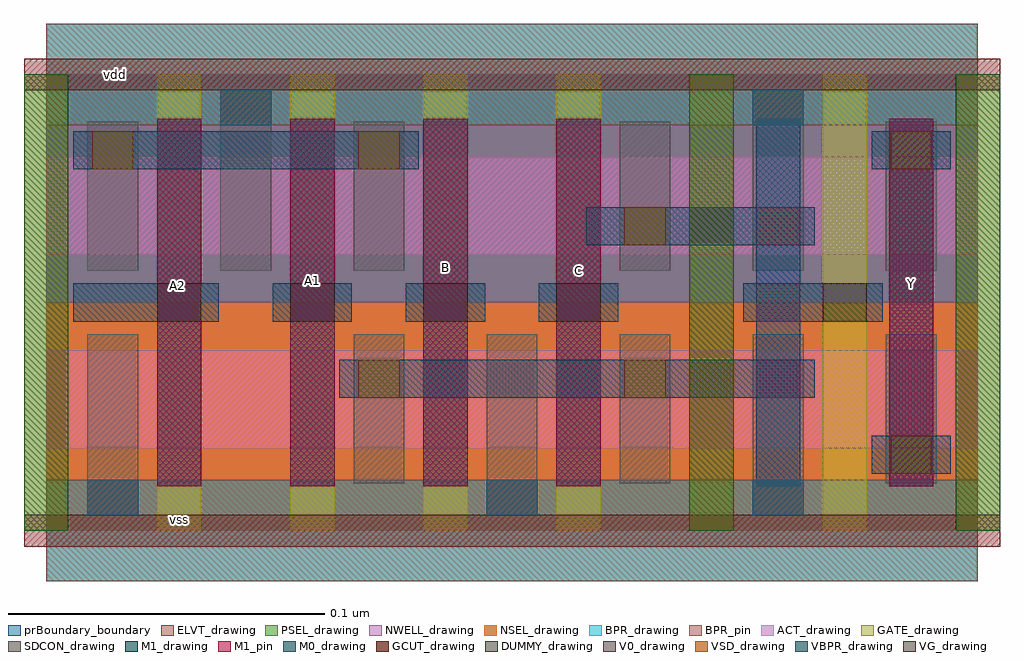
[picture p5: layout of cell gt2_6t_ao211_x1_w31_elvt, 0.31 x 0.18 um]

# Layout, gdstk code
import gdstk
lib = gdstk.Library(unit=1e-6, precision=5e-10)
def R(c, l, rs):  # rectangles x0, y0, x1, y1
    for r in rs: c.add(gdstk.rectangle(r[:2], r[2:], *l))
def A(c, l, x, y, w, h, nx, ny, dx, dy):  # array of equal rectangles
    R(c, l, [(x+i*dx, y+j*dy, x+i*dx+w, y+j*dy+h) for i in range(nx) for j in range(ny)])
NWELL_drawing = (1, 0)
ACT_drawing = (2, 0)
GATE_drawing = (3, 0)
DUMMY_drawing = (4, 0)
GCUT_drawing = (5, 0)
NSEL_drawing = (6, 0)
PSEL_drawing = (7, 0)
BPR_drawing = (8, 0)
BPR_pin = (8, 251)
VBPR_drawing = (9, 0)
SDCON_drawing = (10, 0)
VSD_drawing = (11, 0)
VG_drawing = (12, 0)
M0_drawing = (20, 0)
V0_drawing = (22, 0)
M1_drawing = (25, 0)
M1_pin = (25, 251)
ELVT_drawing = (94, 0)
prBoundary_boundary = (235, 250)

gt2_6t_ao211_x1_w31_elvt = lib.new_cell('gt2_6t_ao211_x1_w31_elvt')
R(gt2_6t_ao211_x1_w31_elvt, NWELL_drawing, [(0,0.072,0.294,0.144)])
R(gt2_6t_ao211_x1_w31_elvt, ACT_drawing, [(0,0.026,0.294,0.057), (0,0.087,0.294,0.118)])
A(gt2_6t_ao211_x1_w31_elvt, GATE_drawing, -0.007, 0, 0.014, 0.144, 8, 1, 0.042, 0)
R(gt2_6t_ao211_x1_w31_elvt, DUMMY_drawing, [(-0.007,0,0.007,0.144), (0.203,0,0.217,0.144), (0.287,0,0.301,0.144)])
R(gt2_6t_ao211_x1_w31_elvt, GCUT_drawing, [(-0.007,-0.005,0.301,0.005), (-0.007,0.139,0.301,0.149)])
R(gt2_6t_ao211_x1_w31_elvt, NSEL_drawing, [(0,0,0.294,0.072)])
R(gt2_6t_ao211_x1_w31_elvt, PSEL_drawing, [(0,0.072,0.294,0.144)])
R(gt2_6t_ao211_x1_w31_elvt, BPR_drawing, [(0,-0.016,0.294,0.016), (0,0.128,0.294,0.16)])
R(gt2_6t_ao211_x1_w31_elvt, BPR_pin, [(0,-0.016,0.294,0.016), (0,0.128,0.294,0.16)])
R(gt2_6t_ao211_x1_w31_elvt, VBPR_drawing, [(0.013,0.005,0.029,0.016), (0.139,0.005,0.155,0.016), (0.223,0.005,0.239,0.016), (0.055,0.128,0.071,0.139), (0.223,0.128,0.239,0.139)])
A(gt2_6t_ao211_x1_w31_elvt, SDCON_drawing, 0.097, 0.015, 0.016, 0.047, 3, 1, 0.084, 0)
A(gt2_6t_ao211_x1_w31_elvt, SDCON_drawing, 0.013, 0.082, 0.016, 0.047, 4, 1, 0.084, 0)
R(gt2_6t_ao211_x1_w31_elvt, SDCON_drawing, [(0.013,0.005,0.029,0.062), (0.139,0.005,0.155,0.062), (0.223,0.005,0.239,0.062), (0.055,0.082,0.071,0.139), (0.223,0.082,0.239,0.139)])
R(gt2_6t_ao211_x1_w31_elvt, VSD_drawing, [(0.2665,0.018,0.2795,0.03), (0.0985,0.042,0.1115,0.054), (0.1825,0.042,0.1955,0.054), (0.1825,0.09,0.1955,0.102), (0.0145,0.114,0.0275,0.126), (0.0985,0.114,0.1115,0.126), (0.2665,0.114,0.2795,0.126)])
A(gt2_6t_ao211_x1_w31_elvt, VG_drawing, 0.035, 0.066, 0.014, 0.012, 4, 1, 0.042, 0)
R(gt2_6t_ao211_x1_w31_elvt, VG_drawing, [(0.245,0.066,0.259,0.078)])
A(gt2_6t_ao211_x1_w31_elvt, M0_drawing, 0.0715, 0.066, 0.025, 0.012, 3, 1, 0.042, 0)
R(gt2_6t_ao211_x1_w31_elvt, M0_drawing, [(0.2605,0.018,0.2855,0.03), (0.0925,0.042,0.2425,0.054), (0.0085,0.066,0.0545,0.078), (0.22,0.066,0.264,0.078), (0.1705,0.09,0.2425,0.102), (0.0085,0.114,0.1175,0.126), (0.2605,0.114,0.2855,0.126)])
A(gt2_6t_ao211_x1_w31_elvt, V0_drawing, 0.224, 0.042, 0.014, 0.012, 1, 3, 0, 0.024)
A(gt2_6t_ao211_x1_w31_elvt, V0_drawing, 0.035, 0.066, 0.014, 0.012, 4, 1, 0.042, 0)
R(gt2_6t_ao211_x1_w31_elvt, V0_drawing, [(0.266,0.018,0.28,0.03), (0.266,0.114,0.28,0.126)])
A(gt2_6t_ao211_x1_w31_elvt, M1_drawing, 0.035, 0.014, 0.014, 0.116, 4, 1, 0.042, 0)
R(gt2_6t_ao211_x1_w31_elvt, M1_drawing, [(0.224,0.014,0.238,0.13), (0.266,0.014,0.28,0.13)])
A(gt2_6t_ao211_x1_w31_elvt, M1_pin, 0.035, 0.014, 0.014, 0.116, 4, 1, 0.042, 0)
R(gt2_6t_ao211_x1_w31_elvt, M1_pin, [(0.266,0.014,0.28,0.13)])
R(gt2_6t_ao211_x1_w31_elvt, ELVT_drawing, [(0,0,0.294,0.144)])
R(gt2_6t_ao211_x1_w31_elvt, prBoundary_boundary, [(0,0,0.294,0.144)])
gt2_6t_ao211_x1_w31_elvt.add(gdstk.Label('vdd', (0.022,0.144), layer=8, texttype=251))
gt2_6t_ao211_x1_w31_elvt.add(gdstk.Label('vss', (0.042,0.0035), layer=8, texttype=251))
gt2_6t_ao211_x1_w31_elvt.add(gdstk.Label('Y', (0.273,0.078), layer=25, texttype=251))
gt2_6t_ao211_x1_w31_elvt.add(gdstk.Label('B', (0.126,0.083), layer=25, texttype=251))
gt2_6t_ao211_x1_w31_elvt.add(gdstk.Label('A2', (0.0415,0.0775), layer=25, texttype=251))
gt2_6t_ao211_x1_w31_elvt.add(gdstk.Label('A1', (0.084,0.079), layer=25, texttype=251))
gt2_6t_ao211_x1_w31_elvt.add(gdstk.Label('C', (0.168,0.082), layer=25, texttype=251))

lib.write_gds('gt2_6t_ao211_x1_w31_elvt.gds')
